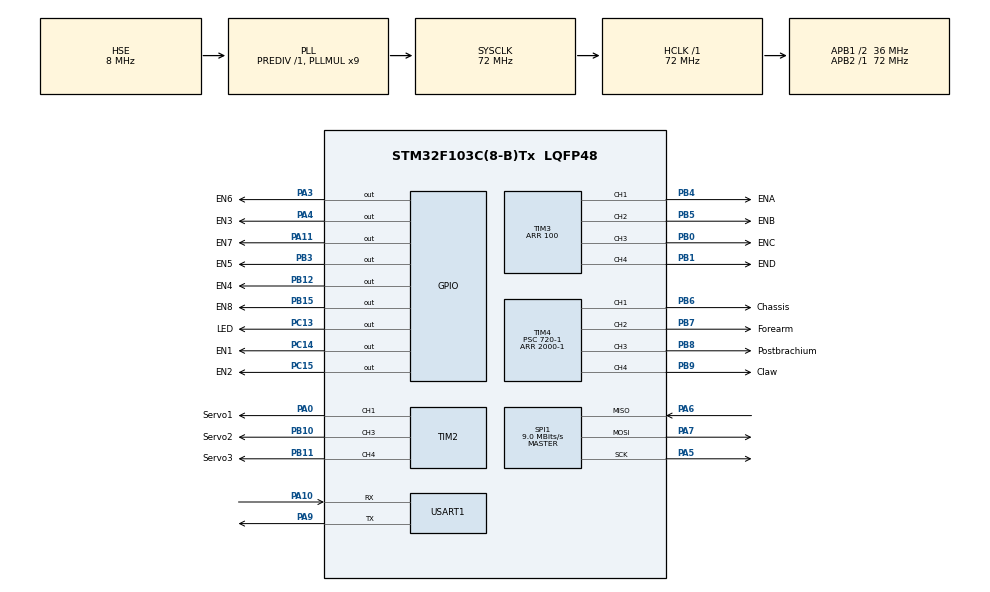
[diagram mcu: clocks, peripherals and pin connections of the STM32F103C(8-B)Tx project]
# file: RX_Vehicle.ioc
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Mcu.Family=STM32F1
Mcu.Name=STM32F103C(8-B)Tx
Mcu.Package=LQFP48
NVIC.PriorityGroup=NVIC_PRIORITYGROUP_2
NVIC.USART1_IRQn=true\:3\:3\:true\:false\:true\:true\:true
PA0-WKUP.GPIO_Label=Servo1
PA0-WKUP.Signal=S_TIM2_CH1_ETR
PA10.Mode=Asynchronous
PA10.Signal=USART1_RX
PA11.GPIO_Label=EN7
PA11.Signal=GPIO_Output
PA13.Mode=Serial_Wire
PA13.Signal=SYS_JTMS-SWDIO
PA14.Mode=Serial_Wire
PA14.Signal=SYS_JTCK-SWCLK
PA3.GPIO_Label=EN6
PA3.Signal=GPIO_Output
PA4.GPIO_Label=EN3
PA4.Signal=GPIO_Output
PA5.Mode=Full_Duplex_Master
PA5.Signal=SPI1_SCK
PA6.Mode=Full_Duplex_Master
PA6.Signal=SPI1_MISO
PA7.Mode=Full_Duplex_Master
PA7.Signal=SPI1_MOSI
PA9.Mode=Asynchronous
PA9.Signal=USART1_TX
PB0.GPIO_Label=ENC
PB0.Signal=S_TIM3_CH3
PB1.GPIO_Label=END
PB1.Signal=S_TIM3_CH4
PB10.GPIO_Label=Servo2
PB10.Signal=S_TIM2_CH3
PB11.GPIO_Label=Servo3
PB11.Signal=S_TIM2_CH4
PB12.GPIO_Label=EN4
PB12.Signal=GPIO_Output
PB15.GPIO_Label=EN8
PB15.Signal=GPIO_Output
PB3.GPIO_Label=EN5
PB3.Signal=GPIO_Output
PB4.GPIO_Label=ENA
PB4.Signal=S_TIM3_CH1
PB5.GPIO_Label=ENB
PB5.Signal=S_TIM3_CH2
PB6.GPIO_Label=Chassis
PB6.Signal=S_TIM4_CH1
PB7.GPIO_Label=Forearm
PB7.Signal=S_TIM4_CH2
PB8.GPIO_Label=Postbrachium
PB8.Signal=S_TIM4_CH3
PB9.GPIO_Label=Claw
PB9.Signal=S_TIM4_CH4
PC13-TAMPER-RTC.GPIO_Label=LED
PC13-TAMPER-RTC.GPIO_Speed=GPIO_SPEED_FREQ_HIGH
PC13-TAMPER-RTC.PinState=GPIO_PIN_SET
PC13-TAMPER-RTC.Signal=GPIO_Output
PC14-OSC32_IN.GPIO_Label=EN1
PC14-OSC32_IN.Signal=GPIO_Output
PC15-OSC32_OUT.GPIO_Label=EN2
PC15-OSC32_OUT.Signal=GPIO_Output
PD0-OSC_IN.Mode=HSE-External-Oscillator
PD0-OSC_IN.Signal=RCC_OSC_IN
PD1-OSC_OUT.Mode=HSE-External-Oscillator
PD1-OSC_OUT.Signal=RCC_OSC_OUT
ProjectManager.HeapSize=0x200
ProjectManager.StackSize=0x400
ProjectManager.TargetToolchain=SW4STM32
RCC.AHBFreq_Value=72000000
RCC.APB1CLKDivider=RCC_HCLK_DIV2
RCC.APB1Freq_Value=36000000
RCC.APB1TimFreq_Value=72000000
RCC.APB2Freq_Value=72000000
RCC.APB2TimFreq_Value=72000000
RCC.HCLKFreq_Value=72000000
RCC.PLLMUL=RCC_PLL_MUL9
RCC.PLLSourceVirtual=RCC_PLLSOURCE_HSE
RCC.SYSCLKFreq_VALUE=72000000
RCC.SYSCLKSource=RCC_SYSCLKSOURCE_PLLCLK
RCC.USBFreq_Value=72000000
SH.S_TIM2_CH1_ETR.0=TIM2_CH1,PWM Generation1 CH1
SH.S_TIM2_CH3.0=TIM2_CH3,PWM Generation3 CH3
SH.S_TIM2_CH4.0=TIM2_CH4,PWM Generation4 CH4
SH.S_TIM3_CH1.0=TIM3_CH1,PWM Generation1 CH1
SH.S_TIM3_CH2.0=TIM3_CH2,PWM Generation2 CH2
SH.S_TIM3_CH3.0=TIM3_CH3,PWM Generation3 CH3
SH.S_TIM3_CH4.0=TIM3_CH4,PWM Generation4 CH4
SH.S_TIM4_CH1.0=TIM4_CH1,PWM Generation1 CH1
SH.S_TIM4_CH2.0=TIM4_CH2,PWM Generation2 CH2
SH.S_TIM4_CH3.0=TIM4_CH3,PWM Generation3 CH3
SH.S_TIM4_CH4.0=TIM4_CH4,PWM Generation4 CH4
SPI1.BaudRatePrescaler=SPI_BAUDRATEPRESCALER_8
SPI1.CalculateBaudRate=9.0 MBits/s
SPI1.Direction=SPI_DIRECTION_2LINES
SPI1.Mode=SPI_MODE_MASTER
SPI1.VirtualType=VM_MASTER
TIM2.Channel-PWM\ Generation1\ CH1=TIM_CHANNEL_1
TIM2.Channel-PWM\ Generation2\ CH2=TIM_CHANNEL_2
TIM2.Channel-PWM\ Generation3\ CH3=TIM_CHANNEL_3
TIM2.Channel-PWM\ Generation4\ CH4=TIM_CHANNEL_4
TIM3.Channel-PWM\ Generation1\ CH1=TIM_CHANNEL_1
TIM3.Channel-PWM\ Generation2\ CH2=TIM_CHANNEL_2
TIM3.Channel-PWM\ Generation3\ CH3=TIM_CHANNEL_3
TIM3.Channel-PWM\ Generation4\ CH4=TIM_CHANNEL_4
TIM3.Period=100
TIM4.Channel-PWM\ Generation1\ CH1=TIM_CHANNEL_1
TIM4.Channel-PWM\ Generation2\ CH2=TIM_CHANNEL_2
TIM4.Channel-PWM\ Generation3\ CH3=TIM_CHANNEL_3
TIM4.Channel-PWM\ Generation4\ CH4=TIM_CHANNEL_4
TIM4.Period=2000-1
TIM4.Prescaler=720-1
USART1.VirtualMode=VM_ASYNC
VP_TIM2_VS_ClockSourceINT.Mode=Internal
VP_TIM3_VS_ClockSourceINT.Mode=Internal
VP_TIM4_VS_ClockSourceINT.Mode=Internal
board=custom

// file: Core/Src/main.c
/* USER CODE BEGIN Header */
/**
  ******************************************************************************
  * @file           : main.c
  * @brief          : Main program body
  ******************************************************************************
  * @attention
  *
  * <h2><center>&copy; Copyright (c) 2021 STMicroelectronics.
  * All rights reserved.</center></h2>
  *
  * This software component is licensed by ST under BSD 3-Clause license,
  * the "License"; You may not use this file except in compliance with the
  * License. You may obtain a copy of the License at:
  *                        opensource.org/licenses/BSD-3-Clause
  *
  ******************************************************************************
  */
/* USER CODE END Header */
#include "main.h"
#include "spi.h"
#include "tim.h"
#include "usart.h"
#include "gpio.h"

/* USER CODE BEGIN PV */
uint8_t status = 0;         //用于判断接收/发送状态
uint8_t txbuf[32];     //发送缓冲
uint8_t rxbuf[32];     //接收缓冲
/* USER CODE END PV */

void SystemClock_Config(void);

int main(void)
{
  /* USER CODE BEGIN 1 */
    uint32_t i;
  /* USER CODE END 1 */

  /* MCU Configuration--------------------------------------------------------*/

  /* Reset of all peripherals, Initializes the Flash interface and the Systick. */
  HAL_Init();

  /* USER CODE BEGIN Init */
    RetargetInit(&huart1);
  /* USER CODE END Init */

  /* Configure the system clock */
  SystemClock_Config();

  /* Initialize all configured peripherals */
  MX_GPIO_Init();
  MX_SPI1_Init();
  MX_USART1_UART_Init();
  MX_TIM4_Init();
  MX_TIM2_Init();
  MX_TIM3_Init();
  /* USER CODE BEGIN 2 */

    /*初始化NRF*/
    SPI_NRF_Init();

    /*检测 NRF 模块与 MCU 的连接*/
    status = NRF_Check();
    /*判断连接状态*/
    if (status == SUCCESS) {
        printf("\r\n      NRF与MCU连接成功！\r\n");
        LED = 0;
    } else {
        printf("\r\n  NRF与MCU连接失败，请重新检查接线。\r\n");
        LED = 1;
    }

    NRF_RX_Mode();    // NRF 进入接收模式

//    __HAL_TIM_SET_COMPARE(&htim4, TIM_CHANNEL_1, 150);    //修改比较值，修改占空比
//    __HAL_TIM_SET_COMPARE(&htim4, TIM_CHANNEL_2, 150);    //修改比较值，修改占空比
//    __HAL_TIM_SET_COMPARE(&htim4, TIM_CHANNEL_3, 200);    //修改比较值，修改占空比
//    __HAL_TIM_SET_COMPARE(&htim4, TIM_CHANNEL_4, 250);    //修改比较值，修改占空比

    motor_pwm_init();

    robot_arm_init();

    printf("\r\n RX.\r\n");

  /* USER CODE END 2 */

  /* Infinite loop */
    while (1) {

    /* USER CODE BEGIN 3 */

        /* 等待接收数据 */
        status = NRF_Rx_Dat(rxbuf);

        /* 判断接收状态 */
        /*
        if (status == RX_DR) {
//            printf("\r\n 接收数据为：\r\n");
            for (i = 0; i < 32; i++) {
//                printf("\r\n 接收数据为：%d \r\n", rxbuf[i]);
                if (rxbuf[i] != 0) {
                    printf("rxbuf[%d] = %d.\n", i, rxbuf[i]);
                }
//                printf("%d,", rxbuf[i]);
            }
//            printf(" \r\n");
//            printf("\r\n 接收数据完成 \r\n");
        }
        */

        if ((rxbuf[0] == 0) && (rxbuf[2] == 0)) {
            vehicle_stop;//车，停止
        }
        /*------------处理车的前进后退----------------*/
        //rxbuf[0]为1，前进；为2，后退
        if (rxbuf[2] == 0) {
            switch (rxbuf[0]) {
                case 1:
                    //车,前进
                    DEBUG("前进.\n");
                    vehicle_forward;
                    break;
                case 2:
                    //车,后退
                    DEBUG("后退.\n");
                    vehicle_backward;
                    break;
                default:
                    break;
            }
        }
        /*----------------------------------------------*/

        /*------------处理车的左右----------------*/
        //rxbuf[2]为1，右边；为2，左边
        if (rxbuf[0] == 0) {
            switch (rxbuf[2]) {
                case 1:
                    //车,右边
                    DEBUG("右边.\n");
                    vehicle_right;
                    break;
                case 2:
                    //车,左边
                    DEBUG("左边.\n");
                    vehicle_left;
                    break;
                default:
                    break;
            }
        }

        /*----------------------------------------------*/

        if ((rxbuf[0] == 1) && (rxbuf[2] == 1)) {
            vehicle_right;
        }
        if ((rxbuf[0] == 1) && (rxbuf[2] == 2)) {
            vehicle_left;
        }
        if ((rxbuf[0] == 2) && (rxbuf[2] == 2)) {
            vehicle_left;
        }
        if ((rxbuf[0] == 2) && (rxbuf[2] == 1)) {
            vehicle_right;
        }

        /*-------------------按键，左边-------------------*/
        //rxbuf[4]，按键左边上下，B(2)、D(4)
        switch (rxbuf[4]) {
            case 1:
                //按键左边上,B(2)
                DEBUG("按键左边上.\n");
                if (Chassis_price > 50) {
                    Chassis_price -= 2;
                    Forearm_PMW(Chassis_price);
                    arm_delay;
                }
                break;
            case 2:
                //按键左边下,D(4)
                DEBUG("按键左边下.\n");
                if (Chassis_price < 50) {
                    Chassis_price += 2;
                    Forearm_PMW(Chassis_price);
                    arm_delay;
                }
                break;
            default:
                break;
        }
        //rxbuf[5]，按键左边左右，A(1)、D(3)
        switch (rxbuf[5]) {
            case 1:
                //按键左边左,A(1)
                DEBUG("按键左边左.\n");
                if (Chassis_price < 250) {
                    Chassis_price += 2;
                    Chassis_PMW(Chassis_price);
                    arm_delay;
                }
                break;
            case 2:
                //按键左边右,D(3)
                DEBUG("按键左边右.\n");
                if (Chassis_price > 50) {
                    Chassis_price -= 2;
                    Chassis_PMW(Chassis_price);
                    arm_delay;
                }
                break;
            default:
                break;
        }
        /*----------------------------------------------*/

        /*-------------------按键，右边-------------------*/
        //rxbuf[6]，按键右边上下，H(6)、Z(8)
        switch (rxbuf[6]) {
            case 1:
                //按键右边上,H(6)
                LED = 1;
                DEBUG("按键右边上.\n");
                rxbuf[6] = 0;
                break;
            case 2:
                //按键右边下,Z(8)
                LED = 0;
                DEBUG("按键右边下.\n");
                rxbuf[6] = 0;
                break;
            default:
                break;
        }
        //rxbuf[7]，按键右边左右，G(5)、I(7)
        switch (rxbuf[7]) {
            case 1:
                //按键右边左,G(5)
                LED = 1;
                DEBUG("按键右边左.\n");
                rxbuf[7] = 0;
                break;
            case 2:
                //按键右边右,I(7)
                LED = 0;
                DEBUG("按键右边右.\n");
                rxbuf[7] = 0;
                break;
            default:
                break;
        }
        /*----------------------------------------------*/

        /*-------------------按键，中间-------------------*/
        //rxbuf[8]，按键中间左右，E(9)、F(10)
        switch (rxbuf[8]) {
            case 1:
                //按键中间左,E(9)
                LED = 1;
                DEBUG("按键中间左.\n");
                rxbuf[8] = 0;
                break;
            case 2:
                //按键中间右,F(10)
                LED = 0;
                DEBUG("按键中间右.\n");
                rxbuf[8] = 0;
                break;
            default:
                break;
        }
        /*----------------------------------------------*/

        /*-------------------摇杆按键，左右-------------------*/
        //rxbuf[9]，摇杆按键，左右，K(11)、L(12)
        switch (rxbuf[9]) {
            case 1:
                //摇杆按键，左,K(11)
                LED = 1;
                DEBUG("摇杆按键，左.\n");
                rxbuf[9] = 0;
                break;
            case 2:
                //摇杆按键，右,L(12)
                LED = 0;
                DEBUG("摇杆按键，右.\n");
                rxbuf[9] = 0;
                break;
            default:
                break;
        }
        /*----------------------------------------------*/

    }
  /* USER CODE END 3 */
}

void SystemClock_Config(void)
{
  RCC_OscInitTypeDef RCC_OscInitStruct = {0};
  RCC_ClkInitTypeDef RCC_ClkInitStruct = {0};

  /** Initializes the RCC Oscillators according to the specified parameters
  * in the RCC_OscInitTypeDef structure.
  */
  RCC_OscInitStruct.OscillatorType = RCC_OSCILLATORTYPE_HSE;
  RCC_OscInitStruct.HSEState = RCC_HSE_ON;
  RCC_OscInitStruct.HSEPredivValue = RCC_HSE_PREDIV_DIV1;
  RCC_OscInitStruct.HSIState = RCC_HSI_ON;
  RCC_OscInitStruct.PLL.PLLState = RCC_PLL_ON;
  RCC_OscInitStruct.PLL.PLLSource = RCC_PLLSOURCE_HSE;
  RCC_OscInitStruct.PLL.PLLMUL = RCC_PLL_MUL9;
  if (HAL_RCC_OscConfig(&RCC_OscInitStruct) != HAL_OK)
  {
    Error_Handler();
  }
  /** Initializes the CPU, AHB and APB buses clocks
  */
  RCC_ClkInitStruct.ClockType = RCC_CLOCKTYPE_HCLK|RCC_CLOCKTYPE_SYSCLK
                              |RCC_CLOCKTYPE_PCLK1|RCC_CLOCKTYPE_PCLK2;
  RCC_ClkInitStruct.SYSCLKSource = RCC_SYSCLKSOURCE_PLLCLK;
  RCC_ClkInitStruct.AHBCLKDivider = RCC_SYSCLK_DIV1;
  RCC_ClkInitStruct.APB1CLKDivider = RCC_HCLK_DIV2;
  RCC_ClkInitStruct.APB2CLKDivider = RCC_HCLK_DIV1;

  if (HAL_RCC_ClockConfig(&RCC_ClkInitStruct, FLASH_LATENCY_2) != HAL_OK)
  {
    Error_Handler();
  }
}

void Error_Handler(void)
{
    __disable_irq();
    while (1) {
    }
}

/************************ (C) COPYRIGHT STMicroelectronics *****END OF FILE****/
